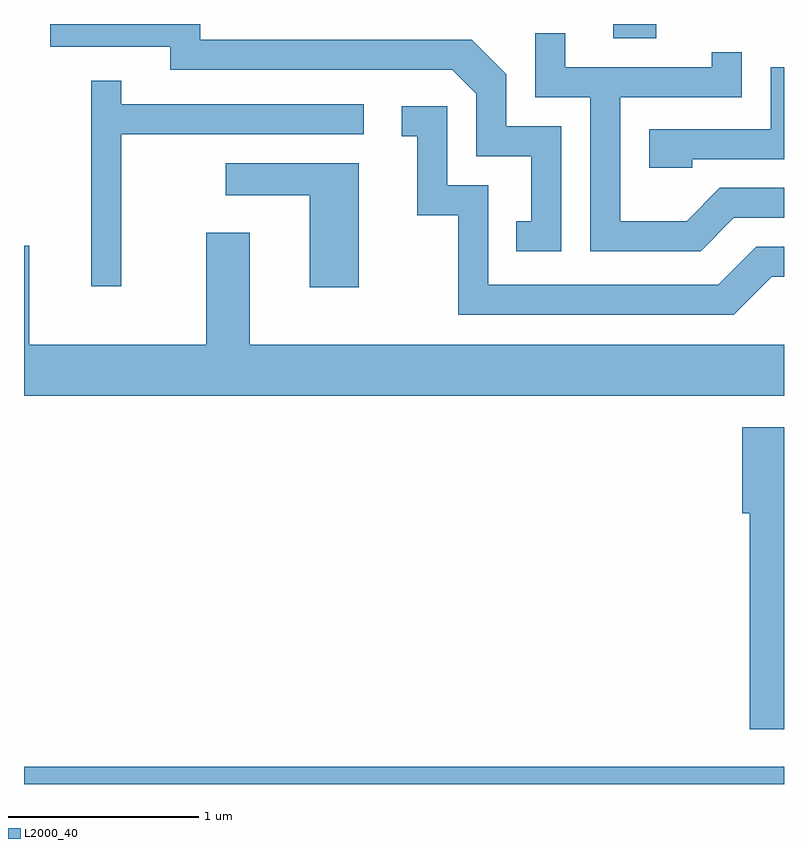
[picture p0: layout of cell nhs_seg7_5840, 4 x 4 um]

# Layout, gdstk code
import gdstk
lib = gdstk.Library(unit=1e-6, precision=1e-09)
def R(c, l, rs):  # rectangles x0, y0, x1, y1
    for r in rs: c.add(gdstk.rectangle(r[:2], r[2:], *l))
def P(c, l, *ps):  # polygons
    for p in ps: c.add(gdstk.Polygon(p, *l))
L2000_40 = (2000, 40)

nhs_seg7_5840 = lib.new_cell('nhs_seg7_5840')
R(nhs_seg7_5840, L2000_40, [(363.611,1732.252,367.611,1732.344), (366.711,1736.176,366.939,1736.252)])
P(nhs_seg7_5840, L2000_40, [(366.439,1735.714),(366.149,1735.714),(366.149,1735.987),(365.967,1736.169),(364.539,1736.169),(364.539,1736.252),(363.748,1736.252),(363.748,1736.131),(364.381,1736.131),(364.381,1736.011),(365.864,1736.011),(365.991,1735.884),(365.991,1735.556),(366.281,1735.556),(366.281,1735.214),(366.203,1735.214),(366.203,1735.056),(366.439,1735.056)],
  [(367.347,1735.231),(367.611,1735.231),(367.611,1735.389),(367.274,1735.389),(367.099,1735.214),(366.749,1735.214),(366.749,1735.866),(367.389,1735.866),(367.389,1736.103),(367.231,1736.103),(367.231,1736.024),(366.459,1736.024),(366.459,1736.203),(366.301,1736.203),(366.301,1735.866),(366.591,1735.866),(366.591,1735.056),(367.172,1735.056)],
  [(367.129,1735.541),(367.611,1735.541),(367.611,1736.024),(367.541,1736.024),(367.541,1735.699),(366.901,1735.699),(366.901,1735.496),(367.129,1735.496)],
  [(364.124,1735.671),(365.398,1735.671),(365.398,1735.829),(364.124,1735.829),(364.124,1735.953),(363.966,1735.953),(363.966,1734.873),(364.124,1734.873)],
  [(367.547,1734.921),(367.611,1734.921),(367.611,1735.079),(367.464,1735.079),(367.264,1734.879),(366.054,1734.879),(366.054,1735.404),(365.839,1735.404),(365.839,1735.819),(365.598,1735.819),(365.598,1735.661),(365.681,1735.661),(365.681,1735.246),(365.896,1735.246),(365.896,1734.721),(367.347,1734.721)],
  [(365.374,1735.519),(364.673,1735.519),(364.673,1735.351),(365.116,1735.351),(365.116,1734.866),(365.374,1734.866)],
  [(367.611,1734.564),(364.799,1734.564),(364.799,1735.154),(364.571,1735.154),(364.571,1734.564),(363.639,1734.564),(363.639,1735.084),(363.611,1735.084),(363.611,1734.296),(367.611,1734.296)],
  [(367.611,1734.129),(367.391,1734.129),(367.391,1733.676),(367.431,1733.676),(367.431,1732.541),(367.611,1732.541)])

lib.write_gds('nhs_seg7_5840.gds')
